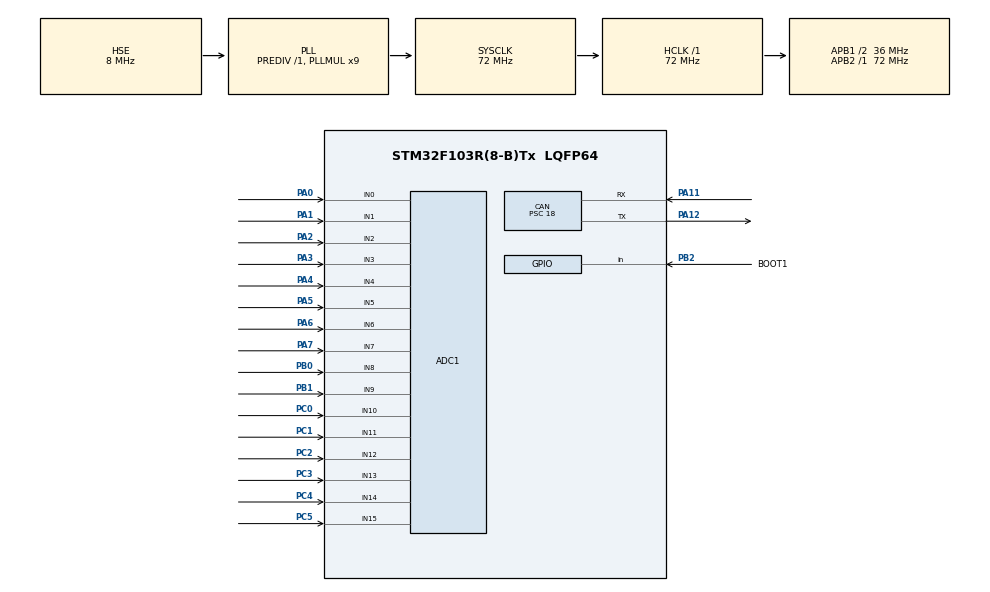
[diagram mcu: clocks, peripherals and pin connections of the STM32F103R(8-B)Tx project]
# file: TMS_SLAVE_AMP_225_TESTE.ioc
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ADC1.Channel-0\#ChannelRegularConversion=ADC_CHANNEL_0
ADC1.Channel-1\#ChannelRegularConversion=ADC_CHANNEL_1
ADC1.Channel-10\#ChannelRegularConversion=ADC_CHANNEL_10
ADC1.Channel-11\#ChannelRegularConversion=ADC_CHANNEL_11
ADC1.Channel-12\#ChannelRegularConversion=ADC_CHANNEL_12
ADC1.Channel-13\#ChannelRegularConversion=ADC_CHANNEL_13
ADC1.Channel-14\#ChannelRegularConversion=ADC_CHANNEL_14
ADC1.Channel-15\#ChannelRegularConversion=ADC_CHANNEL_15
ADC1.Channel-2\#ChannelRegularConversion=ADC_CHANNEL_2
ADC1.Channel-3\#ChannelRegularConversion=ADC_CHANNEL_3
ADC1.Channel-4\#ChannelRegularConversion=ADC_CHANNEL_4
ADC1.Channel-5\#ChannelRegularConversion=ADC_CHANNEL_5
ADC1.Channel-6\#ChannelRegularConversion=ADC_CHANNEL_6
ADC1.Channel-7\#ChannelRegularConversion=ADC_CHANNEL_7
ADC1.Channel-8\#ChannelRegularConversion=ADC_CHANNEL_8
ADC1.Channel-9\#ChannelRegularConversion=ADC_CHANNEL_9
ADC1.ContinuousConvMode=ENABLE
ADC1.NbrOfConversion=16
ADC1.NbrOfConversionFlag=1
ADC1.Rank-0\#ChannelRegularConversion=1
ADC1.Rank-1\#ChannelRegularConversion=2
ADC1.Rank-10\#ChannelRegularConversion=11
ADC1.Rank-11\#ChannelRegularConversion=12
ADC1.Rank-12\#ChannelRegularConversion=13
ADC1.Rank-13\#ChannelRegularConversion=14
ADC1.Rank-14\#ChannelRegularConversion=15
ADC1.Rank-15\#ChannelRegularConversion=16
ADC1.Rank-2\#ChannelRegularConversion=3
ADC1.Rank-3\#ChannelRegularConversion=4
ADC1.Rank-4\#ChannelRegularConversion=5
ADC1.Rank-5\#ChannelRegularConversion=6
ADC1.Rank-6\#ChannelRegularConversion=7
ADC1.Rank-7\#ChannelRegularConversion=8
ADC1.Rank-8\#ChannelRegularConversion=9
ADC1.Rank-9\#ChannelRegularConversion=10
ADC1.SamplingTime-0\#ChannelRegularConversion=ADC_SAMPLETIME_239CYCLES_5
ADC1.SamplingTime-1\#ChannelRegularConversion=ADC_SAMPLETIME_239CYCLES_5
ADC1.SamplingTime-10\#ChannelRegularConversion=ADC_SAMPLETIME_239CYCLES_5
ADC1.SamplingTime-11\#ChannelRegularConversion=ADC_SAMPLETIME_239CYCLES_5
ADC1.SamplingTime-12\#ChannelRegularConversion=ADC_SAMPLETIME_239CYCLES_5
ADC1.SamplingTime-13\#ChannelRegularConversion=ADC_SAMPLETIME_239CYCLES_5
ADC1.SamplingTime-14\#ChannelRegularConversion=ADC_SAMPLETIME_239CYCLES_5
ADC1.SamplingTime-15\#ChannelRegularConversion=ADC_SAMPLETIME_239CYCLES_5
ADC1.SamplingTime-2\#ChannelRegularConversion=ADC_SAMPLETIME_239CYCLES_5
ADC1.SamplingTime-3\#ChannelRegularConversion=ADC_SAMPLETIME_239CYCLES_5
ADC1.SamplingTime-4\#ChannelRegularConversion=ADC_SAMPLETIME_239CYCLES_5
ADC1.SamplingTime-5\#ChannelRegularConversion=ADC_SAMPLETIME_239CYCLES_5
ADC1.SamplingTime-6\#ChannelRegularConversion=ADC_SAMPLETIME_239CYCLES_5
ADC1.SamplingTime-7\#ChannelRegularConversion=ADC_SAMPLETIME_239CYCLES_5
ADC1.SamplingTime-8\#ChannelRegularConversion=ADC_SAMPLETIME_239CYCLES_5
ADC1.SamplingTime-9\#ChannelRegularConversion=ADC_SAMPLETIME_239CYCLES_5
ADC1.master=1
CAN.BS1=CAN_BS1_2TQ
CAN.CalculateBaudRate=500000
CAN.CalculateTimeBit=2000
CAN.CalculateTimeQuantum=500.0
CAN.Mode=CAN_MODE_NORMAL
CAN.Prescaler=18
Dma.ADC1.0.Direction=DMA_PERIPH_TO_MEMORY
Dma.ADC1.0.Instance=DMA1_Channel1
Dma.ADC1.0.MemDataAlignment=DMA_MDATAALIGN_HALFWORD
Dma.ADC1.0.MemInc=DMA_MINC_ENABLE
Dma.ADC1.0.Mode=DMA_CIRCULAR
Dma.ADC1.0.PeriphDataAlignment=DMA_PDATAALIGN_HALFWORD
Dma.ADC1.0.PeriphInc=DMA_PINC_DISABLE
Dma.ADC1.0.Priority=DMA_PRIORITY_LOW
Dma.Request0=ADC1
Mcu.Family=STM32F1
Mcu.Name=STM32F103R(8-B)Tx
Mcu.Package=LQFP64
NVIC.CAN1_RX1_IRQn=true\:1\:0\:true\:false\:true\:true\:true\:true
NVIC.DMA1_Channel1_IRQn=true\:1\:0\:true\:false\:true\:false\:true\:true
NVIC.PriorityGroup=NVIC_PRIORITYGROUP_4
NVIC.TIM3_IRQn=true\:0\:0\:false\:false\:true\:true\:true\:true
NVIC.USB_LP_CAN1_RX0_IRQn=true\:0\:0\:false\:false\:true\:true\:true\:true
PA0-WKUP.Signal=ADCx_IN0
PA1.Signal=ADCx_IN1
PA11.Mode=CAN_Activate
PA11.Signal=CAN_RX
PA12.Mode=CAN_Activate
PA12.Signal=CAN_TX
PA13.Mode=Serial_Wire
PA13.Signal=SYS_JTMS-SWDIO
PA14.Mode=Serial_Wire
PA14.Signal=SYS_JTCK-SWCLK
PA2.Signal=ADCx_IN2
PA3.Signal=ADCx_IN3
PA4.Signal=ADCx_IN4
PA5.Signal=ADCx_IN5
PA6.Signal=ADCx_IN6
PA7.Signal=ADCx_IN7
PB0.Signal=ADCx_IN8
PB1.Signal=ADCx_IN9
PB2.GPIO_Label=BOOT1
PB2.Signal=GPIO_Input
PB3.GPIO_Label=SWO
PB3.Signal=SYS_JTDO-TRACESWO
PC0.Signal=ADCx_IN10
PC1.Signal=ADCx_IN11
PC14-OSC32_IN.Signal=RCC_OSC32_IN
PC15-OSC32_OUT.Signal=RCC_OSC32_OUT
PC2.Signal=ADCx_IN12
PC3.Signal=ADCx_IN13
PC4.Signal=ADCx_IN14
PC5.Signal=ADCx_IN15
PD0-OSC_IN.Mode=HSE-External-Oscillator
PD0-OSC_IN.Signal=RCC_OSC_IN
PD1-OSC_OUT.Mode=HSE-External-Oscillator
PD1-OSC_OUT.Signal=RCC_OSC_OUT
ProjectManager.HeapSize=0x200
ProjectManager.StackSize=0x400
ProjectManager.TargetToolchain=STM32CubeIDE
RCC.ADCPresc=RCC_ADCPCLK2_DIV6
RCC.AHBFreq_Value=72000000
RCC.APB1CLKDivider=RCC_HCLK_DIV2
RCC.APB1Freq_Value=36000000
RCC.APB1TimFreq_Value=72000000
RCC.APB2Freq_Value=72000000
RCC.APB2TimFreq_Value=72000000
RCC.HCLKFreq_Value=72000000
RCC.PLLMUL=RCC_PLL_MUL9
RCC.PLLSourceVirtual=RCC_PLLSOURCE_HSE
RCC.SYSCLKFreq_VALUE=72000000
RCC.SYSCLKSource=RCC_SYSCLKSOURCE_PLLCLK
RCC.USBFreq_Value=72000000
SH.ADCx_IN0.0=ADC1_IN0,IN0
SH.ADCx_IN1.0=ADC1_IN1,IN1
SH.ADCx_IN10.0=ADC1_IN10,IN10
SH.ADCx_IN11.0=ADC1_IN11,IN11
SH.ADCx_IN12.0=ADC1_IN12,IN12
SH.ADCx_IN13.0=ADC1_IN13,IN13
SH.ADCx_IN14.0=ADC1_IN14,IN14
SH.ADCx_IN15.0=ADC1_IN15,IN15
SH.ADCx_IN2.0=ADC1_IN2,IN2
SH.ADCx_IN3.0=ADC1_IN3,IN3
SH.ADCx_IN4.0=ADC1_IN4,IN4
SH.ADCx_IN5.0=ADC1_IN5,IN5
SH.ADCx_IN6.0=ADC1_IN6,IN6
SH.ADCx_IN7.0=ADC1_IN7,IN7
SH.ADCx_IN8.0=ADC1_IN8,IN8
SH.ADCx_IN9.0=ADC1_IN9,IN9
TIM3.AutoReloadPreload=TIM_AUTORELOAD_PRELOAD_DISABLE
TIM3.Period=999
TIM3.Prescaler=7199
VP_TIM3_VS_ClockSourceINT.Mode=Internal
board=NUCLEO-F103RB

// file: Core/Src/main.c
/* USER CODE BEGIN Header */
/**
  ******************************************************************************
  * @file           : main.c
  * @brief          : Main program body
  ******************************************************************************
  * @attention
  *
  * Copyright (c) 2025 STMicroelectronics.
  * All rights reserved.
  *
  * This software is licensed under terms that can be found in the LICENSE file
  * in the root directory of this software component.
  * If no LICENSE file comes with this software, it is provided AS-IS.
  *
  ******************************************************************************
  */
/* USER CODE END Header */
#include "main.h"

/* USER CODE BEGIN Includes */
#include <math.h>
#include <stdlib.h>
/* USER CODE END Includes */

/* USER CODE BEGIN PD */
#define bufferSize 16
#define windowSize 5
/*Coeficientes do polinômio T(V)*/
#define C4 (6.03)
#define C3 (-40.82)
#define C2 (105.64)
#define C1 (-156.45)
#define C0 (134.25)

/* USER CODE END PD */

/* USER CODE BEGIN PM */
/* FILTER CONFIGURATION */
typedef struct {
    float minVal;  // Valor mínimo permitido (ou -1 para desativar)
    float maxVal;  // Valor máximo permitido (ou -1 para desativar)
    int filterSize;  // Tamanho da janela do filtro de mediana
} medianFilterConfig;

medianFilterConfig config;
/* USER CODE END PM */

ADC_HandleTypeDef hadc1;
DMA_HandleTypeDef hdma_adc1;

CAN_HandleTypeDef hcan;

TIM_HandleTypeDef htim3;

/* USER CODE BEGIN PV */
int indx = 0, validSamples = 0, adcFlag = 0, count = 0;
uint16_t adcBuffer [bufferSize];
float voltageBuffer [bufferSize], rawTempBuffer [bufferSize], filteredTempBuffer[bufferSize], temperatura = 0;
float tempHistory[bufferSize][windowSize] = {0}, maxTempVal = 0;
/* USER CODE END PV */

void SystemClock_Config(void);
static void MX_GPIO_Init(void);
static void MX_DMA_Init(void);
static void MX_ADC1_Init(void);
static void MX_TIM3_Init(void);
static void MX_CAN_Init(void);
/* USER CODE BEGIN PFP */
/*ADC CONFIGURATION*/
float readVoltage(uint16_t rawAdcVal);
float readTemperature(float voltage);
void tempReading(void);
void medianFilter(float *inputBuffer, float *outputBuffer, medianFilterConfig *config);
int compare(const void *a, const void *b);
float maxVal(float *buffer, int size);
void HAL_ADC_ConvCpltCallback(ADC_HandleTypeDef *hadc);
/* USER CODE END PFP */

/* USER CODE BEGIN 0 */
/*TIMER CONFIGURATION*/
void HAL_TIM_PeriodElapsedCallback(TIM_HandleTypeDef *htim);
/* CAN CONFIGURATION */
CAN_TxHeaderTypeDef txHeader;
uint32_t txMailbox;
uint8_t txData[2];

/* FILTER CONFIGURATION */

/* USER CODE END 0 */

int main(void)
{

  /* MCU Configuration--------------------------------------------------------*/

  /* Reset of all peripherals, Initializes the Flash interface and the Systick. */
  HAL_Init();

  /* Configure the system clock */
  SystemClock_Config();

  /* Initialize all configured peripherals */
  MX_GPIO_Init();
  MX_DMA_Init();
  MX_ADC1_Init();
  MX_TIM3_Init();
  MX_CAN_Init();
  /* USER CODE BEGIN 2 */

  HAL_ADC_Start_DMA(&hadc1, (uint32_t*) adcBuffer, bufferSize);
  HAL_TIM_Base_Start_IT(&htim3);
  HAL_CAN_Start(&hcan);

  /* CAN CONFIGURATION */

  txHeader.DLC = 2;
  txHeader.ExtId = 0;
  txHeader.IDE = CAN_ID_STD;
  txHeader.RTR = CAN_RTR_DATA;
  txHeader.StdId = 0x1;
  txHeader.TransmitGlobalTime = DISABLE;

  txData[0] = 0x0;
  txData[1] = 0x0;

  /* FILTER CONFIGURATION */

  config.minVal = 10;
  config.maxVal = 55;
  config.filterSize = windowSize;

  /* USER CODE END 2 */

  /* Infinite loop */
  while (1)
  {

    /* USER CODE BEGIN 3 */
	  txData[0] = (uint16_t)maxTempVal;
	  txData[1] = (((uint16_t)maxTempVal)>>8);

	  if (adcFlag == 1){
		  tempReading();
		  adcFlag = 0;
	  }
	  count++;
  }
  /* USER CODE END 3 */
}

void SystemClock_Config(void)
{
  RCC_OscInitTypeDef RCC_OscInitStruct = {0};
  RCC_ClkInitTypeDef RCC_ClkInitStruct = {0};
  RCC_PeriphCLKInitTypeDef PeriphClkInit = {0};

  /** Initializes the RCC Oscillators according to the specified parameters
  * in the RCC_OscInitTypeDef structure.
  */
  RCC_OscInitStruct.OscillatorType = RCC_OSCILLATORTYPE_HSE;
  RCC_OscInitStruct.HSEState = RCC_HSE_ON;
  RCC_OscInitStruct.HSEPredivValue = RCC_HSE_PREDIV_DIV1;
  RCC_OscInitStruct.HSIState = RCC_HSI_ON;
  RCC_OscInitStruct.PLL.PLLState = RCC_PLL_ON;
  RCC_OscInitStruct.PLL.PLLSource = RCC_PLLSOURCE_HSE;
  RCC_OscInitStruct.PLL.PLLMUL = RCC_PLL_MUL9;
  if (HAL_RCC_OscConfig(&RCC_OscInitStruct) != HAL_OK)
  {
    Error_Handler();
  }

  /** Initializes the CPU, AHB and APB buses clocks
  */
  RCC_ClkInitStruct.ClockType = RCC_CLOCKTYPE_HCLK|RCC_CLOCKTYPE_SYSCLK
                              |RCC_CLOCKTYPE_PCLK1|RCC_CLOCKTYPE_PCLK2;
  RCC_ClkInitStruct.SYSCLKSource = RCC_SYSCLKSOURCE_PLLCLK;
  RCC_ClkInitStruct.AHBCLKDivider = RCC_SYSCLK_DIV1;
  RCC_ClkInitStruct.APB1CLKDivider = RCC_HCLK_DIV2;
  RCC_ClkInitStruct.APB2CLKDivider = RCC_HCLK_DIV1;

  if (HAL_RCC_ClockConfig(&RCC_ClkInitStruct, FLASH_LATENCY_2) != HAL_OK)
  {
    Error_Handler();
  }
  PeriphClkInit.PeriphClockSelection = RCC_PERIPHCLK_ADC;
  PeriphClkInit.AdcClockSelection = RCC_ADCPCLK2_DIV6;
  if (HAL_RCCEx_PeriphCLKConfig(&PeriphClkInit) != HAL_OK)
  {
    Error_Handler();
  }
}

static void MX_ADC1_Init(void)
{

  ADC_ChannelConfTypeDef sConfig = {0};

  /** Common config
  */
  hadc1.Instance = ADC1;
  hadc1.Init.ScanConvMode = ADC_SCAN_ENABLE;
  hadc1.Init.ContinuousConvMode = ENABLE;
  hadc1.Init.DiscontinuousConvMode = DISABLE;
  hadc1.Init.ExternalTrigConv = ADC_SOFTWARE_START;
  hadc1.Init.DataAlign = ADC_DATAALIGN_RIGHT;
  hadc1.Init.NbrOfConversion = 16;
  if (HAL_ADC_Init(&hadc1) != HAL_OK)
  {
    Error_Handler();
  }

  /** Configure Regular Channel
  */
  sConfig.Channel = ADC_CHANNEL_0;
  sConfig.Rank = ADC_REGULAR_RANK_1;
  sConfig.SamplingTime = ADC_SAMPLETIME_239CYCLES_5;
  if (HAL_ADC_ConfigChannel(&hadc1, &sConfig) != HAL_OK)
  {
    Error_Handler();
  }

  /** Configure Regular Channel
  */
  sConfig.Channel = ADC_CHANNEL_1;
  sConfig.Rank = ADC_REGULAR_RANK_2;
  if (HAL_ADC_ConfigChannel(&hadc1, &sConfig) != HAL_OK)
  {
    Error_Handler();
  }

  /** Configure Regular Channel
  */
  sConfig.Channel = ADC_CHANNEL_2;
  sConfig.Rank = ADC_REGULAR_RANK_3;
  if (HAL_ADC_ConfigChannel(&hadc1, &sConfig) != HAL_OK)
  {
    Error_Handler();
  }

  /** Configure Regular Channel
  */
  sConfig.Channel = ADC_CHANNEL_3;
  sConfig.Rank = ADC_REGULAR_RANK_4;
  if (HAL_ADC_ConfigChannel(&hadc1, &sConfig) != HAL_OK)
  {
    Error_Handler();
  }

  /** Configure Regular Channel
  */
  sConfig.Channel = ADC_CHANNEL_4;
  sConfig.Rank = ADC_REGULAR_RANK_5;
  if (HAL_ADC_ConfigChannel(&hadc1, &sConfig) != HAL_OK)
  {
    Error_Handler();
  }

  /** Configure Regular Channel
  */
  sConfig.Channel = ADC_CHANNEL_5;
  sConfig.Rank = ADC_REGULAR_RANK_6;
  if (HAL_ADC_ConfigChannel(&hadc1, &sConfig) != HAL_OK)
  {
    Error_Handler();
  }

  /** Configure Regular Channel
  */
  sConfig.Channel = ADC_CHANNEL_6;
  sConfig.Rank = ADC_REGULAR_RANK_7;
  if (HAL_ADC_ConfigChannel(&hadc1, &sConfig) != HAL_OK)
  {
    Error_Handler();
  }

  /** Configure Regular Channel
  */
  sConfig.Channel = ADC_CHANNEL_7;
  sConfig.Rank = ADC_REGULAR_RANK_8;
  if (HAL_ADC_ConfigChannel(&hadc1, &sConfig) != HAL_OK)
  {
    Error_Handler();
  }

  /** Configure Regular Channel
  */
  sConfig.Channel = ADC_CHANNEL_8;
  sConfig.Rank = ADC_REGULAR_RANK_9;
  if (HAL_ADC_ConfigChannel(&hadc1, &sConfig) != HAL_OK)
  {
    Error_Handler();
  }

  /** Configure Regular Channel
  */
  sConfig.Channel = ADC_CHANNEL_9;
  sConfig.Rank = ADC_REGULAR_RANK_10;
  if (HAL_ADC_ConfigChannel(&hadc1, &sConfig) != HAL_OK)
  {
    Error_Handler();
  }

  /** Configure Regular Channel
  */
  sConfig.Channel = ADC_CHANNEL_10;
  sConfig.Rank = ADC_REGULAR_RANK_11;
  if (HAL_ADC_ConfigChannel(&hadc1, &sConfig) != HAL_OK)
  {
    Error_Handler();
  }

  /** Configure Regular Channel
  */
  sConfig.Channel = ADC_CHANNEL_11;
  sConfig.Rank = ADC_REGULAR_RANK_12;
  if (HAL_ADC_ConfigChannel(&hadc1, &sConfig) != HAL_OK)
  {
    Error_Handler();
  }

  /** Configure Regular Channel
  */
  sConfig.Channel = ADC_CHANNEL_12;
  sConfig.Rank = ADC_REGULAR_RANK_13;
  if (HAL_ADC_ConfigChannel(&hadc1, &sConfig) != HAL_OK)
  {
    Error_Handler();
  }

  /** Configure Regular Channel
  */
  sConfig.Channel = ADC_CHANNEL_13;
  sConfig.Rank = ADC_REGULAR_RANK_14;
  if (HAL_ADC_ConfigChannel(&hadc1, &sConfig) != HAL_OK)
  {
    Error_Handler();
  }

  /** Configure Regular Channel
  */
  sConfig.Channel = ADC_CHANNEL_14;
  sConfig.Rank = ADC_REGULAR_RANK_15;
  if (HAL_ADC_ConfigChannel(&hadc1, &sConfig) != HAL_OK)
  {
    Error_Handler();
  }

  /** Configure Regular Channel
  */
  sConfig.Channel = ADC_CHANNEL_15;
  sConfig.Rank = ADC_REGULAR_RANK_16;
  if (HAL_ADC_ConfigChannel(&hadc1, &sConfig) != HAL_OK)
  {
    Error_Handler();
  }

}

static void MX_CAN_Init(void)
{

  hcan.Instance = CAN1;
  hcan.Init.Prescaler = 18;
  hcan.Init.Mode = CAN_MODE_NORMAL;
  hcan.Init.SyncJumpWidth = CAN_SJW_1TQ;
  hcan.Init.TimeSeg1 = CAN_BS1_2TQ;
  hcan.Init.TimeSeg2 = CAN_BS2_1TQ;
  hcan.Init.TimeTriggeredMode = DISABLE;
  hcan.Init.AutoBusOff = DISABLE;
  hcan.Init.AutoWakeUp = DISABLE;
  hcan.Init.AutoRetransmission = DISABLE;
  hcan.Init.ReceiveFifoLocked = DISABLE;
  hcan.Init.TransmitFifoPriority = DISABLE;
  if (HAL_CAN_Init(&hcan) != HAL_OK)
  {
    Error_Handler();
  }
  /* USER CODE BEGIN CAN_Init 2 */
  CAN_FilterTypeDef canfilterconfig;
  canfilterconfig.FilterActivation = CAN_FILTER_ENABLE;
  canfilterconfig.FilterBank = 10;
  canfilterconfig.FilterFIFOAssignment = CAN_RX_FIFO0;
  canfilterconfig.FilterIdHigh = 0x001<<5;
  canfilterconfig.FilterIdLow = 0x0000;
  canfilterconfig.FilterMaskIdHigh = 0x001<<5;
  canfilterconfig.FilterMaskIdLow = 0x0000;
  canfilterconfig.FilterMode = CAN_FILTERMODE_IDMASK;
  canfilterconfig.FilterScale = CAN_FILTERSCALE_32BIT;
  canfilterconfig.SlaveStartFilterBank = 0;

  HAL_CAN_ConfigFilter(&hcan, &canfilterconfig);
  /* USER CODE END CAN_Init 2 */

}

static void MX_TIM3_Init(void)
{

  TIM_ClockConfigTypeDef sClockSourceConfig = {0};
  TIM_MasterConfigTypeDef sMasterConfig = {0};

  htim3.Instance = TIM3;
  htim3.Init.Prescaler = 7199;
  htim3.Init.CounterMode = TIM_COUNTERMODE_UP;
  htim3.Init.Period = 999;
  htim3.Init.ClockDivision = TIM_CLOCKDIVISION_DIV1;
  htim3.Init.AutoReloadPreload = TIM_AUTORELOAD_PRELOAD_DISABLE;
  if (HAL_TIM_Base_Init(&htim3) != HAL_OK)
  {
    Error_Handler();
  }
  sClockSourceConfig.ClockSource = TIM_CLOCKSOURCE_INTERNAL;
  if (HAL_TIM_ConfigClockSource(&htim3, &sClockSourceConfig) != HAL_OK)
  {
    Error_Handler();
  }
  sMasterConfig.MasterOutputTrigger = TIM_TRGO_RESET;
  sMasterConfig.MasterSlaveMode = TIM_MASTERSLAVEMODE_DISABLE;
  if (HAL_TIMEx_MasterConfigSynchronization(&htim3, &sMasterConfig) != HAL_OK)
  {
    Error_Handler();
  }

}

static void MX_DMA_Init(void)
{

  /* DMA controller clock enable */
  __HAL_RCC_DMA1_CLK_ENABLE();

  /* DMA interrupt init */
  /* DMA1_Channel1_IRQn interrupt configuration */
  HAL_NVIC_SetPriority(DMA1_Channel1_IRQn, 1, 0);
  HAL_NVIC_EnableIRQ(DMA1_Channel1_IRQn);

}

static void MX_GPIO_Init(void)
{
  GPIO_InitTypeDef GPIO_InitStruct = {0};

  /* GPIO Ports Clock Enable */
  __HAL_RCC_GPIOC_CLK_ENABLE();
  __HAL_RCC_GPIOD_CLK_ENABLE();
  __HAL_RCC_GPIOA_CLK_ENABLE();
  __HAL_RCC_GPIOB_CLK_ENABLE();

  /*Configure GPIO pin : BOOT1_Pin */
  GPIO_InitStruct.Pin = BOOT1_Pin;
  GPIO_InitStruct.Mode = GPIO_MODE_INPUT;
  GPIO_InitStruct.Pull = GPIO_NOPULL;
  HAL_GPIO_Init(BOOT1_GPIO_Port, &GPIO_InitStruct);

}

/* USER CODE BEGIN 4 */
float readVoltage(uint16_t rawAdcVal){
	float voltage = (rawAdcVal*3.3)/(4095);
	return voltage;
}
float readTemperature(float voltage){
	float temperature = C0 + C1 * voltage + C2 * pow(voltage, 2) + C3 * pow(voltage, 3) + C4 *pow(voltage, 4);
	return temperature;
}
int compare(const void *a, const void *b) {
	return (*(float*)a - *(float*)b);
}
void medianFilter(float *inputBuffer, float *outputBuffer, medianFilterConfig *config) {
    for (int sensor = 0; sensor < bufferSize; sensor++) {
        tempHistory[sensor][indx] = inputBuffer[sensor];
        if (validSamples < config->filterSize) {
            validSamples++;
        }
        float temp[config->filterSize];
        for (int i = 0; i < validSamples; i++) {
            temp[i] = tempHistory[sensor][i];
        }
        qsort(temp, validSamples, sizeof(float), compare);
        int medianIndex = validSamples / 2;
        float medianVal = temp[medianIndex];
        if ((config->minVal != -1 && medianVal < config->minVal) ||
            (config->maxVal != -1 && medianVal > config->maxVal)) {
            continue;
        }
        outputBuffer[sensor] = medianVal;
    }
    indx = (indx + 1) % (config->filterSize);
}
float maxVal(float *buffer, int size){
	float max = buffer[0];
	for (int i = 1; i<size; i++){
		if(buffer[i] > max){
			max = buffer[i];
		}
	}
	return max;
}
void tempReading(void){
	for(int i=0; i<bufferSize; i++){
		voltageBuffer[i] = readVoltage(adcBuffer[i]);
		rawTempBuffer[i] = readTemperature(voltageBuffer[i]);
	}
	medianFilter(rawTempBuffer, filteredTempBuffer, &config);
	maxTempVal = (maxVal(filteredTempBuffer, bufferSize)*10);
}
void HAL_ADC_ConvCpltCallback(ADC_HandleTypeDef *hadc){
	adcFlag = 1;
}
void HAL_TIM_PeriodElapsedCallback(TIM_HandleTypeDef *htim){
	int count = 0;
	while(HAL_CAN_AddTxMessage(&hcan, &txHeader, txData, &txMailbox)!=HAL_OK){
		count++;
		if(count >= 20){
			Error_Handler();
		}
	}
}
/* USER CODE END 4 */

void Error_Handler(void)
{
  __disable_irq();
  while (1)
  {
  }
}
